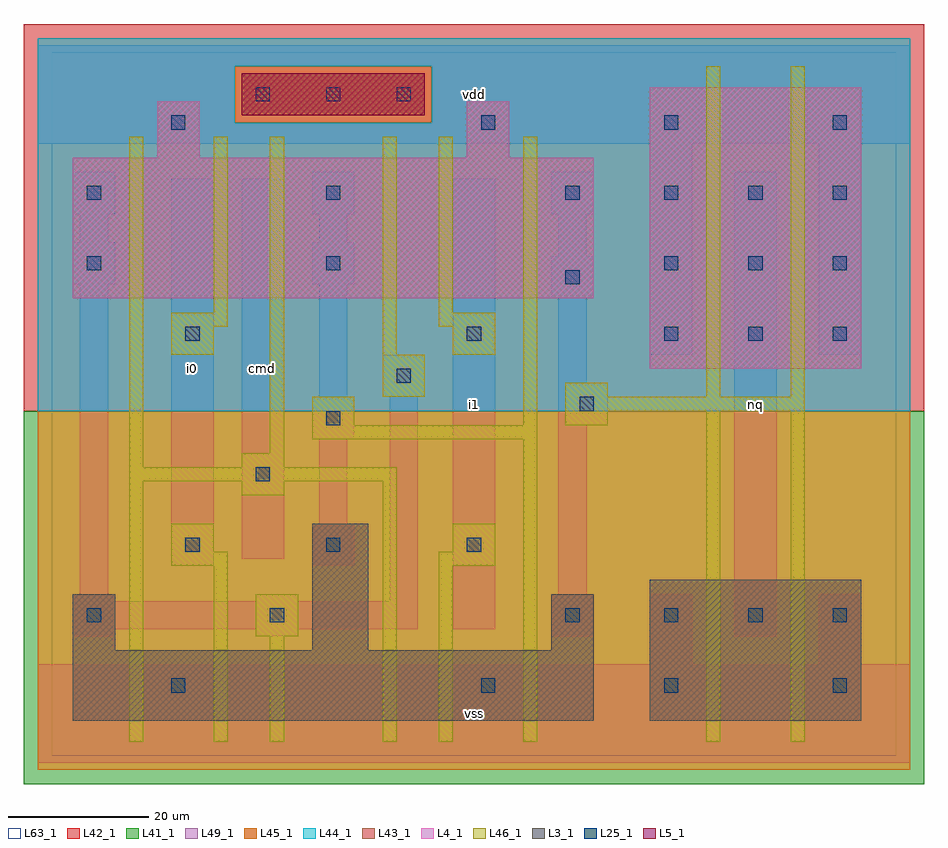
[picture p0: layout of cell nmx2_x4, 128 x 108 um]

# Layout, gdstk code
import gdstk
lib = gdstk.Library(unit=1e-6, precision=1e-09)
def R(c, l, rs):  # rectangles x0, y0, x1, y1
    for r in rs: c.add(gdstk.rectangle(r[:2], r[2:], *l))
def A(c, l, x, y, w, h, nx, ny, dx, dy):  # array of equal rectangles
    R(c, l, [(x+i*dx, y+j*dy, x+i*dx+w, y+j*dy+h) for i in range(nx) for j in range(ny)])
L3_1 = (3, 1)
L4_1 = (4, 1)
L5_1 = (5, 1)
L25_1 = (25, 1)
L41_1 = (41, 1)
L42_1 = (42, 1)
L43_1 = (43, 1)
L44_1 = (44, 1)
L45_1 = (45, 1)
L46_1 = (46, 1)
L49_1 = (49, 1)
L63_1 = (63, 1)

nmx2_x4 = lib.new_cell('nmx2_x4')
R(nmx2_x4, L3_1, [(3,5,77,15), (85,5,115,25), (3,15,9,23), (37,15,45,33), (71,15,77,23)])
R(nmx2_x4, L4_1, [(85,55,115,95), (3,65,77,85), (15,85,21,93), (59,85,65,93)])
R(nmx2_x4, L5_1, [(27,91,53,97)])
A(nmx2_x4, L25_1, 87, 19, 2, 2, 3, 2, 12, 40)
A(nmx2_x4, L25_1, 19, 29, 2, 2, 3, 1, 20, 0)
A(nmx2_x4, L25_1, 87, 69, 2, 2, 3, 2, 12, 10)
A(nmx2_x4, L25_1, 5, 79, 2, 2, 3, 1, 34, 0)
A(nmx2_x4, L25_1, 29, 93, 2, 2, 3, 1, 10, 0)
R(nmx2_x4, L25_1, [(17,9,19,11), (61,9,63,11), (87,9,89,11), (111,9,113,11), (5,19,7,21), (31,19,33,21), (73,19,75,21), (29,39,31,41), (39,47,41,49), (75,49,77,51), (49,53,51,55), (19,59,21,61), (59,59,61,61), (73,67,75,69), (5,69,7,71), (39,69,41,71), (17,89,19,91), (61,89,63,91), (87,89,89,91), (111,89,113,91)])
R(nmx2_x4, L41_1, [(-4,-4,124,49)])
R(nmx2_x4, L42_1, [(-4,49,124,104)])
R(nmx2_x4, L43_1, [(3,5,77,15), (85,5,115,25), (3,15,9,23), (37,15,45,33), (71,15,77,23), (85,55,115,95), (3,65,77,85), (15,85,21,93), (59,85,65,93), (27,91,53,97)])
R(nmx2_x4, L44_1, [(-2,49,122,90), (-2,90,26,98), (54,90,122,98), (-2,98,122,102)])
R(nmx2_x4, L45_1, [(-2,-2,122,49), (26,90,54,98)])
R(nmx2_x4, L46_1, [(11,2,13,39), (23,2,25,27), (31,2,33,17), (47,2,49,39), (55,2,57,27), (67,2,69,45), (93,2,95,49), (105,2,107,49), (29,17,35,23), (17,27,25,29), (55,27,63,29), (17,29,23,33), (57,29,63,33), (27,37,33,39), (11,39,49,41), (11,41,13,88), (27,41,33,43), (31,43,33,88), (37,45,69,47), (37,47,43,51), (67,47,69,88), (73,47,79,49), (73,49,107,51), (47,51,53,57), (73,51,79,53), (93,51,95,98), (105,51,107,98), (17,57,23,61), (47,57,49,88), (57,57,63,61), (17,61,25,63), (55,61,63,63), (23,63,25,88), (55,63,57,88)])
A(nmx2_x4, L49_1, 3, 77, 6, 6, 3, 1, 34, 0)
R(nmx2_x4, L49_1, [(-2,-1,122,13), (85,13,91,23), (109,13,115,23), (3,17,9,18), (29,17,35,18), (71,17,77,23), (97,17,103,83), (3,18,52,22), (57,18,63,82), (3,22,9,23), (29,22,35,23), (48,22,52,51), (4,23,8,67), (72,23,76,47), (17,27,23,82), (37,27,43,33), (27,28,33,82), (38,33,42,45), (37,45,43,51), (72,47,79,53), (38,51,42,67), (47,51,53,57), (72,53,76,65), (85,57,91,87), (109,57,115,87), (71,65,77,71), (3,67,9,73), (37,67,43,73), (72,71,76,77), (4,73,8,77), (38,73,42,77), (-2,87,122,101)])
R(nmx2_x4, L63_1, [(0,0,120,100)])
nmx2_x4.add(gdstk.Label('i0', (20,55), layer=49, texttype=1))
nmx2_x4.add(gdstk.Label('i0', (20,55), layer=49, texttype=1))
nmx2_x4.add(gdstk.Label('cmd', (30,55), layer=49, texttype=1))
nmx2_x4.add(gdstk.Label('cmd', (30,55), layer=49, texttype=1))
nmx2_x4.add(gdstk.Label('vss', (60,6), layer=49, texttype=1))
nmx2_x4.add(gdstk.Label('vss', (60,6), layer=49, texttype=1))
nmx2_x4.add(gdstk.Label('i1', (60,50), layer=49, texttype=1))
nmx2_x4.add(gdstk.Label('i1', (60,50), layer=49, texttype=1))
nmx2_x4.add(gdstk.Label('vdd', (60,94), layer=49, texttype=1))
nmx2_x4.add(gdstk.Label('vdd', (60,94), layer=49, texttype=1))
nmx2_x4.add(gdstk.Label('nq', (100,50), layer=49, texttype=1))
nmx2_x4.add(gdstk.Label('nq', (100,50), layer=49, texttype=1))

lib.write_gds('nmx2_x4.gds')
